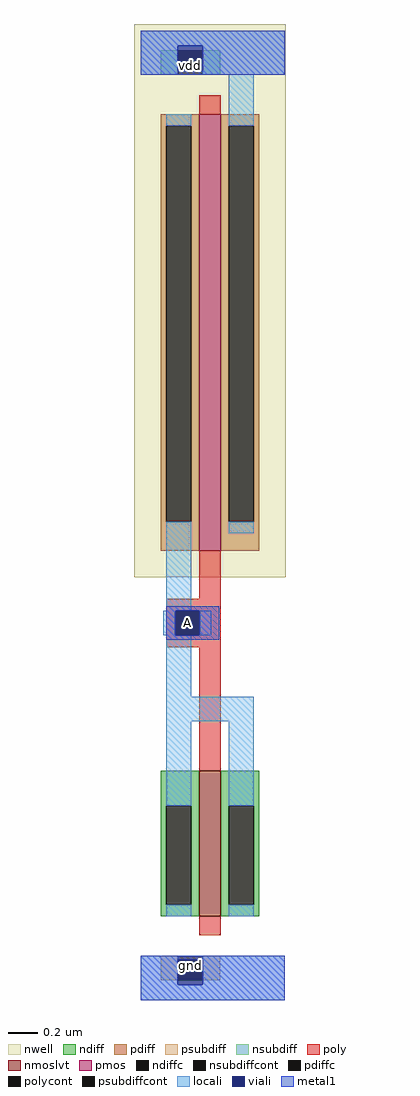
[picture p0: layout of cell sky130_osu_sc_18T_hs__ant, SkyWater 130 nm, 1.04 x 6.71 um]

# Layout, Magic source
magic
tech sky130A
magscale 1 2
<< nwell >>
rect -9 581 199 1341
<< pmos >>
rect 80 617 110 1217
<< nmoslvt >>
rect 80 115 110 315
<< ndiff >>
rect 27 267 80 315
rect 27 131 35 267
rect 69 131 80 267
rect 27 115 80 131
rect 110 267 163 315
rect 110 131 121 267
rect 155 131 163 267
rect 110 115 163 131
<< pdiff >>
rect 27 1201 80 1217
rect 27 657 35 1201
rect 69 657 80 1201
rect 27 617 80 657
rect 110 1201 163 1217
rect 110 657 121 1201
rect 155 657 163 1201
rect 110 617 163 657
<< ndiffc >>
rect 35 131 69 267
rect 121 131 155 267
<< pdiffc >>
rect 35 657 69 1201
rect 121 657 155 1201
<< psubdiff >>
rect 27 27 51 61
rect 85 27 109 61
<< nsubdiff >>
rect 27 1271 51 1305
rect 85 1271 109 1305
<< psubdiffcont >>
rect 51 27 85 61
<< nsubdiffcont >>
rect 51 1271 85 1305
<< poly >>
rect 80 1217 110 1243
rect 80 551 110 617
rect 35 535 110 551
rect 35 501 47 535
rect 81 501 110 535
rect 35 485 110 501
rect 80 315 110 485
rect 80 89 110 115
<< polycont >>
rect 47 501 81 535
<< locali >>
rect 0 1311 198 1332
rect 0 1271 51 1311
rect 85 1271 198 1311
rect 35 1201 69 1217
rect 35 535 69 657
rect 121 1201 155 1271
rect 121 641 155 657
rect 31 501 47 535
rect 81 501 97 535
rect 35 417 69 501
rect 35 383 155 417
rect 35 267 69 383
rect 35 115 69 131
rect 121 267 155 383
rect 121 115 155 131
rect 0 21 51 61
rect 85 21 198 61
rect 0 0 198 21
<< viali >>
rect 51 1305 85 1311
rect 51 1277 85 1305
rect 47 501 81 535
rect 51 27 85 55
rect 51 21 85 27
<< metal1 >>
rect 0 1311 198 1332
rect 0 1277 51 1311
rect 85 1277 198 1311
rect 0 1271 198 1277
rect 35 535 108 541
rect 35 501 47 535
rect 81 501 108 535
rect 35 495 108 501
rect 0 55 198 61
rect 0 21 51 55
rect 85 21 198 55
rect 0 0 198 21
<< labels >>
rlabel metal1 64 518 64 518 1 A
port 1 n
rlabel viali 68 48 68 48 1 gnd
rlabel viali 68 1284 68 1284 1 vdd
<< end >>
